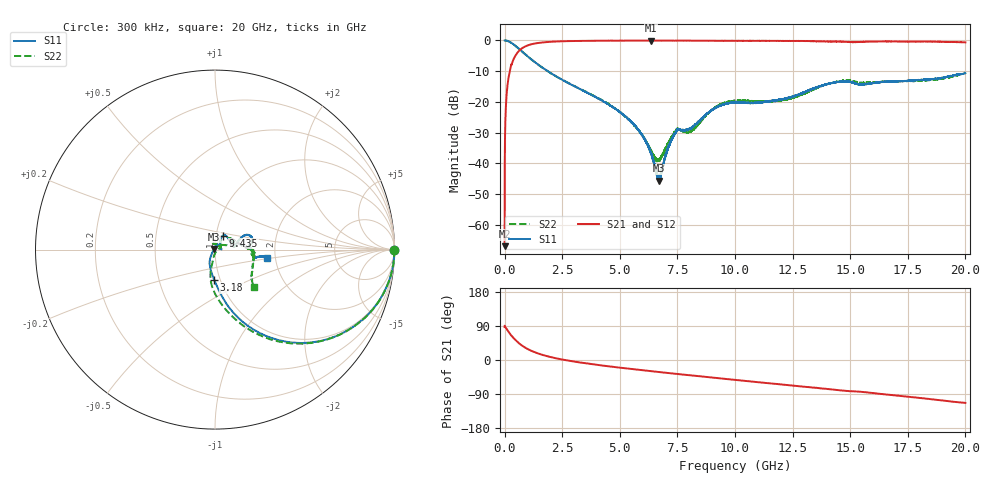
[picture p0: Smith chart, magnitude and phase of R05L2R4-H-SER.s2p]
!{R05L2R4}
!Johanson Technology Inc.
!www.johansontechnology.com
!Test Board Conditions:
!Substrate Type  RO4350B
!Substrate Thickness  10 mil
!Substrate Dk  3.66
!TL Type: GCPW
!TL Trace Width  22 mil
!TL Gap  25 mil
!Electrode orientation  Horizontal
!DUT TOPOLOGY	SERIES
!Mounting Pad LxW  11x14.5 mil
! Created Wed Nov 25 17:33:21 2020
! 2 Port Network Data from SP1.SP block
! freq  magS11  angS11  magS21  angS21  magS12  angS12  magS22  angS22
# khz S ma R 50
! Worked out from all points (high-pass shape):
!   20001 points, 300 kHz to 20 GHz, reference 50 ohm
!   highest |S21| = -0.04 dB at 6.342 GHz (marker M1); lowest = -66.9 dB at 300 kHz (marker M2)
!   |S21| within 3 dB of the highest: 674.8 MHz to end of sweep
!   lowest |S11| = -45.6 dB at 6.713 GHz (marker M3), VSWR 1.01, Z = 49.6 + j0.307 ohm
!   |S11| at or under -10 dB: 1.869 GHz to end of sweep
!   |S22| runs from -39.3 to 0.0 dB; largest |S21 - S12| = 0.015
!   S11 on the Smith chart (normalised r, x): 300 kHz: open; 3.18 GHz: 0.94, -0.32; 9.435 GHz: 1.08, +0.17; 20 GHz: 1.80, -0.18
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300  0.9981 -0.1  0.0004514 86.9  0.0004803 79.0  1 -0.1
101300  0.988 -9.2  0.1506 80.7  0.1514 80.6  0.9879 -9.1
126300  0.9818 -11.3  0.1867 78.5  0.1873 78.5  0.9815 -11.4
242300  0.9375 -21.2  0.3425 68.5  0.3438 68.4  0.9371 -21.3
440300  0.8359 -34.8  0.5418 54.6  0.543 54.6  0.8345 -35.0
866300  0.6093 -55.5  0.7889 33.6  0.7879 33.6  0.6085 -56.5
1359300  0.4303 -69.0  0.8975 19.4  0.8968 19.4  0.4306 -71.4
3180300  0.1681 -91.3  0.9809 -5.6  0.981 -5.7  0.17 -98.3
3334300  0.1576 -93.2  0.983 -7.1  0.9833 -7.1  0.159 -99.4
5351300  0.05348 -119.6  0.9934 -22.7  0.9929 -22.7  0.053 -100.6
6342300  0.0151 -139.2  0.9956 -29.4  0.9943 -29.4  0.01636 -83.0
6667300  0.005611 164.8  0.9936 -31.6  0.9942 -31.5  0.01172 -37.1
6713300  0.005248 143.8  0.9944 -31.8  0.9936 -31.8  0.01125 -30.0
7454300  0.03324 69.9  0.9934 -36.6  0.9931 -36.6  0.03535 23.2
8124300  0.03882 37.5  0.9928 -40.8  0.9928 -40.7  0.03392 61.3
9435300  0.08957 60.1  0.9889 -49.0  0.9872 -48.9  0.09391 16.1
1.00003e7  0.09771 51.4  0.9871 -52.4  0.9859 -52.4  0.1049 17.7
1.19373e7  0.1092 9.2  0.9838 -64.0  0.9853 -64.1  0.1064 36.8
1.33343e7  0.1613 24.6  0.9742 -72.3  0.9759 -72.5  0.1561 8.0
1.47493e7  0.2162 17.1  0.9489 -81.1  0.9534 -81.3  0.2221 -5.2
1.66673e7  0.2127 -6.1  0.9639 -91.8  0.9561 -91.3  0.2148 -1.8
2e7  0.2932 -9.1  0.9308 -113.2  0.9227 -113.1  0.2984 -43.8
